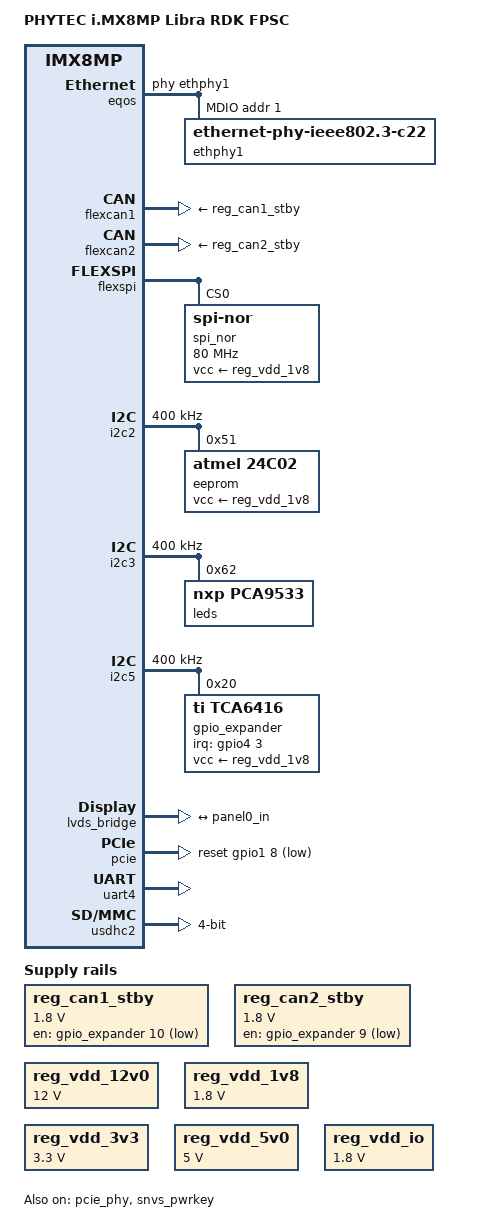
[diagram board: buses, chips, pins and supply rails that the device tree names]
// SPDX-License-Identifier: (GPL-2.0-or-later OR MIT)
/*
 * Copyright (C) 2025 PHYTEC Messtechnik GmbH
 */

/dts-v1/;

#include <dt-bindings/leds/leds-pca9532.h>
#include <dt-bindings/phy/phy-imx8-pcie.h>
#include <dt-bindings/pwm/pwm.h>
#include "imx8mp-phycore-fpsc.dtsi"

/ {
	compatible = "phytec,imx8mp-libra-rdk-fpsc",
		     "phytec,imx8mp-phycore-fpsc", "fsl,imx8mp";
	model = "PHYTEC i.MX8MP Libra RDK FPSC";

	backlight_lvds0: backlight0 {
		compatible = "pwm-backlight";
		pinctrl-0 = <&pinctrl_lvds0>;
		pinctrl-names = "default";
		power-supply = <&reg_vdd_12v0>;
		status = "disabled";
	};

	chosen {
		stdout-path = &uart4;
	};

	panel0_lvds: panel-lvds {
		/* compatible panel in overlay */
		backlight = <&backlight_lvds0>;
		power-supply = <&reg_vdd_3v3>;
		status = "disabled";

		port {
			panel0_in: endpoint {
				remote-endpoint = <&ldb_lvds_ch0>;
			};
		};
	};

	reg_can1_stby: regulator-can1-stby {
		compatible = "regulator-fixed";
		regulator-max-microvolt = <1800000>;
		regulator-min-microvolt = <1800000>;
		regulator-name = "can1-stby";
		gpio = <&gpio_expander 10 GPIO_ACTIVE_LOW>;
	};

	reg_can2_stby: regulator-can2-stby {
		compatible = "regulator-fixed";
		regulator-max-microvolt = <1800000>;
		regulator-min-microvolt = <1800000>;
		regulator-name = "can2-stby";
		gpio = <&gpio_expander 9 GPIO_ACTIVE_LOW>;
	};

	reg_vdd_12v0: regulator-vdd-12v0 {
		compatible = "regulator-fixed";
		regulator-always-on;
		regulator-boot-on;
		regulator-max-microvolt = <12000000>;
		regulator-min-microvolt = <12000000>;
		regulator-name = "VDD_12V0";
	};

	reg_vdd_1v8: regulator-vdd-1v8 {
		compatible = "regulator-fixed";
		regulator-always-on;
		regulator-boot-on;
		regulator-max-microvolt = <1800000>;
		regulator-min-microvolt = <1800000>;
		regulator-name = "VDD_1V8";
	};

	reg_vdd_3v3: regulator-vdd-3v3 {
		compatible = "regulator-fixed";
		regulator-always-on;
		regulator-boot-on;
		regulator-max-microvolt = <3300000>;
		regulator-min-microvolt = <3300000>;
		regulator-name = "VDD_3V3";
	};

	reg_vdd_5v0: regulator-vdd-5v0 {
		compatible = "regulator-fixed";
		regulator-always-on;
		regulator-boot-on;
		regulator-max-microvolt = <5000000>;
		regulator-min-microvolt = <5000000>;
		regulator-name = "VDD_5V0";
	};
};

&eqos {
	phy-handle = <&ethphy1>;
	status = "okay";

	mdio {
		compatible = "snps,dwmac-mdio";
		#address-cells = <1>;
		#size-cells = <0>;

		ethphy1: ethernet-phy@1 {
			compatible = "ethernet-phy-ieee802.3-c22";
			reg = <0x1>;
			enet-phy-lane-no-swap;
			ti,clk-output-sel = <DP83867_CLK_O_SEL_OFF>;
			ti,fifo-depth = <DP83867_PHYCR_FIFO_DEPTH_4_B_NIB>;
			ti,rx-internal-delay = <DP83867_RGMIIDCTL_1_50_NS>;
			ti,tx-internal-delay = <DP83867_RGMIIDCTL_1_50_NS>;
		};
	};
};

/* CAN FD */
&flexcan1 {
	xceiver-supply = <&reg_can1_stby>;
	status = "okay";
};

&flexcan2 {
	xceiver-supply = <&reg_can2_stby>;
	status = "okay";
};

&flexspi {
	status = "okay";

	spi_nor: flash@0 {
		compatible = "jedec,spi-nor";
		reg = <0>;
		spi-max-frequency = <80000000>;
		spi-rx-bus-width = <4>;
		spi-tx-bus-width = <1>;
		vcc-supply = <&reg_vdd_1v8>;
	};
};

&gpio5 {
	gpio-line-names = "", "", "", "", "I2C5_SDA",
			  "GPIO1", "", "", "", "SPI1_CS",
			  "", "", "", "SPI2_CS", "I2C1_SCL",
			  "I2C1_SDA", "I2C2_SCL", "I2C2_SDA", "I2C3_SCL", "I2C3_SDA",
			  "", "GPIO2", "", "LVDS1_BL_EN", "SPI3_CS",
			  "", "GPIO3";
};

&i2c2 {
	clock-frequency = <400000>;
	status = "okay";

	eeprom@51 {
		compatible = "atmel,24c02";
		reg = <0x51>;
		pagesize = <16>;
		vcc-supply = <&reg_vdd_1v8>;
	};
};

&i2c3 {
	clock-frequency = <400000>;
	status = "okay";

	leds@62 {
		compatible = "nxp,pca9533";
		reg = <0x62>;

		led-1 {
			type = <PCA9532_TYPE_LED>;
		};

		led-2 {
			type = <PCA9532_TYPE_LED>;
		};

		led-3 {
			type = <PCA9532_TYPE_LED>;
		};
	};
};

&i2c5 {
	#address-cells = <1>;
	#size-cells = <0>;
	clock-frequency = <400000>;
	status = "okay";

	gpio_expander: gpio@20 {
		compatible = "ti,tca6416";
		reg = <0x20>;
		interrupt-parent = <&gpio4>;
		interrupts = <3 IRQ_TYPE_LEVEL_LOW>;
		#gpio-cells = <2>;
		gpio-controller;
		gpio-line-names = "CSI1_CTRL1", "CSI1_CTRL2", "CSI1_CTRL3",
				  "CSI1_CTRL4", "CSI2_CTRL1", "CSI2_CTRL2",
				  "CSI2_CTRL3", "CSI2_CTRL4", "CLK_EN_AV",
				  "nCAN2_EN", "nCAN1_EN", "PCIE1_nWAKE",
				  "PCIE2_nWAKE", "PCIE2_nALERT_3V3",
				  "UART1_BT_RS_SEL", "UART1_RS232_485_SEL";
		vcc-supply = <&reg_vdd_1v8>;

		uart1_bt_rs_sel: bt-rs-hog {
			gpios = <14 GPIO_ACTIVE_HIGH>;
			gpio-hog;
			line-name = "UART1_BT_RS_SEL";
			output-low;	/* default RS232/RS485 */
		};

		uart1_rs232_485_sel: rs232-485-hog {
			gpios = <15 GPIO_ACTIVE_HIGH>;
			gpio-hog;
			line-name = "UART1_RS232_485_SEL";
			output-high;	/* default RS232 */
		};
	};
};

&iomuxc {
	pinctrl_lvds0: lvds0grp {
		fsl,pins = <
			MX8MP_IOMUXC_UART1_TXD__GPIO5_IO23	0x12
		>;
	};
	pinctrl_rtc: rtcgrp {
		fsl,pins = <
			MX8MP_IOMUXC_UART2_TXD__GPIO5_IO25	0x1C0
		>;
	};
};

&lvds_bridge {
	ports {
		port@1 {
			ldb_lvds_ch0: endpoint {
				remote-endpoint = <&panel0_in>;
			};
		};
	};
};

/* Mini PCIe */
&pcie {
	reset-gpio = <&gpio1 8 GPIO_ACTIVE_LOW>;
	vpcie-supply = <&reg_vdd_3v3>;
	status = "okay";
};

&pcie_phy {
	clocks = <&hsio_blk_ctrl>;
	clock-names = "ref";
	fsl,clkreq-unsupported;
	fsl,refclk-pad-mode = <IMX8_PCIE_REFCLK_PAD_OUTPUT>;
	status = "okay";
};

&reg_vdd_io {
	regulator-max-microvolt = <1800000>;
	regulator-min-microvolt = <1800000>;
};

&rv3028 {
	interrupt-parent = <&gpio5>;
	interrupts = <25 IRQ_TYPE_LEVEL_LOW>;
	aux-voltage-chargeable = <1>;
	pinctrl-0 = <&pinctrl_rtc>;
	pinctrl-names = "default";
	trickle-resistor-ohms = <3000>;
	wakeup-source;
};

&snvs_pwrkey {
	status = "okay";
};

/* debug console */
&uart4 {
	status = "okay";
};

/* SD-Card */
&usdhc2 {
	assigned-clocks = <&clk IMX8MP_CLK_USDHC2>;
	assigned-clock-rates = <200000000>;
	bus-width = <4>;
	disable-wp;
	status = "okay";
};
